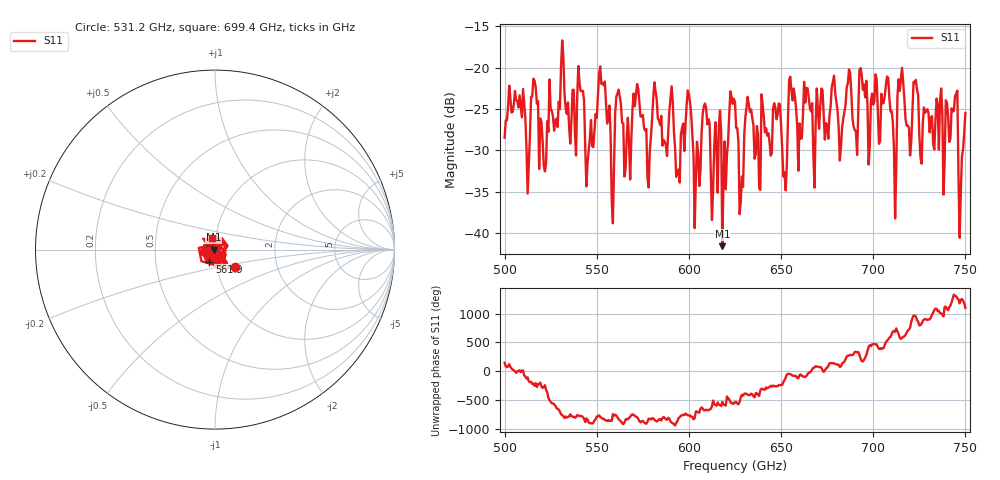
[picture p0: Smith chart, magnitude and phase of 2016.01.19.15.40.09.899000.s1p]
!Created with skrf (http://scikit-rf.org).
# GHz S RI R 50.0
!freq ReS11 ImS11
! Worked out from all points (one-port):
!   401 points, 500 GHz to 750 GHz, reference 50 ohm
!   lowest |S11| = -41.6 dB at 618.1 GHz (marker M1), VSWR 1.02, Z = 49.2 - j0.105 ohm
!   |S11| at or under -10 dB: start of sweep to end of sweep
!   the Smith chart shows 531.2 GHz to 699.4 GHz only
!   S11 on the Smith chart (normalised r, x): 531.2 GHz: 1.23, -0.24; 561.9 GHz: 0.93, -0.12; 699.4 GHz: 0.95, +0.13
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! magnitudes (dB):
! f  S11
! 500 GHz  -28.5
! 512.5 GHz  -35.2
! 515.6 GHz  -21.3
! 521.9 GHz  -32.5
! 531.2 GHz  -16.7
! 545 GHz  -31.5
! 552.5 GHz  -22.0
! 558.8 GHz  -38.8
! 561.9 GHz  -22.7
! 562.5 GHz  -23.5
! 578.1 GHz  -34.5
! 590.6 GHz  -22.3
! 593.8 GHz  -32.7
! 600 GHz  -23.2
! 604.4 GHz  -28.9
! 608.8 GHz  -24.3
! 618.1 GHz  -41.6
! 625 GHz  -24.2
! 628.1 GHz  -36.2
! 632.5 GHz  -24.5
! 651.9 GHz  -32.7
! 656.2 GHz  -24.0
! 687.5 GHz  -20.7
! 699.4 GHz  -23.1
! 718.8 GHz  -27.0
! 744.4 GHz  -23.4
! 747.5 GHz  -35.0
! 750 GHz  -25.5
